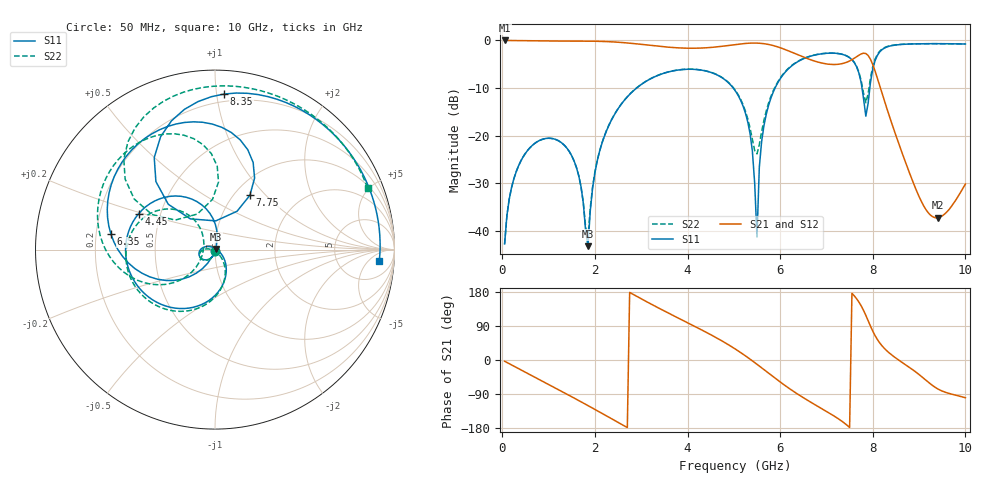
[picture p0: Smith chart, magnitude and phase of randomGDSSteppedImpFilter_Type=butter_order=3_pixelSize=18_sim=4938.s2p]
! freq	dB(S11)	phase(S11)	dB(S12)	phase(S12)
!  dB(S21)	phase(S21)	dB(S22)	phase(S22)
!S-par simulation data
#  GHz  S  DB  R 50
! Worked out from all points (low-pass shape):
!   200 points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, 50 MHz to 10 GHz, reference 50 ohm
!   highest |S21| = 0.00 dB at 50 MHz (marker M1); lowest = -37.3 dB at 9.4 GHz (marker M2)
!   |S21| within 3 dB of the highest: start of sweep to 6.38 GHz; 7.719 GHz to 7.88 GHz (161.8 MHz wide, 2.07 % of centre)
!   lowest |S11| = -43.2 dB at 1.85 GHz (marker M3), VSWR 1.01, Z = 50.6 + j0.353 ohm
!   |S11| at or under -10 dB: start of sweep to 2.9 GHz; 4.986 GHz to 5.89 GHz (903.9 MHz wide, 16.6 % of centre); 7.767 GHz to 7.936 GHz (169.3 MHz wide, 2.16 % of centre)
!   |S22| runs from -42.8 to -0.7 dB; largest |S21 - S12| = 0
!   S11 on the Smith chart (normalised r, x): 50 MHz: 1.00, -0.01; 4.45 GHz: 0.38, +0.19; 6.35 GHz: 0.26, +0.07; 7.75 GHz: 1.18, +0.82; 8.35 GHz: 0.15, +1.05; 10 GHz: 14, -11
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0.05  -42.76 -92.4  -0.00 -3.3  -0.00 -3.3  -42.75 -92.2
0.3  -27.59 -109.8  -0.04 -19.5  -0.04 -19.5  -27.59 -108.6
0.8  -21.04 -144.0  -0.10 -51.7  -0.10 -51.7  -21.04 -140.3
1.75  -34.22 137.0  -0.14 -113.6  -0.14 -113.6  -34.11 179.1
1.85  -43.23 30.4  -0.14 -120.2  -0.14 -120.2  -41.34 -95.5
2.25  -18.99 -56.6  -0.24 -147.4  -0.24 -147.4  -18.94 -60.8
3.4  -7.19 -137.7  -1.25 135.6  -1.25 135.6  -7.17 -131.8
4.45  -6.55 154.9  -1.51 70.1  -1.51 70.1  -6.53 167.3
5.05  -10.86 110.7  -0.84 27.5  -0.84 27.5  -10.74 131.9
5.35  -19.56 84.4  -0.57 2.3  -0.57 2.3  -18.40 127.2
5.5  -41.30 -71.9  -0.56 -11.3  -0.56 -11.3  -23.83 -178.7
5.55  -26.63 -113.1  -0.58 -16.0  -0.58 -16.0  -21.88 -154.3
5.7  -15.51 -128.4  -0.75 -30.1  -0.75 -30.1  -14.80 -136.0
6.35  -4.64 171.6  -2.88 -87.8  -2.88 -87.8  -4.57 -176.6
6.7  -3.18 144.1  -4.20 -114.2  -4.20 -114.2  -3.15 159.6
7.35  -2.94 95.5  -4.85 -163.1  -4.85 -163.1  -2.94 116.8
7.75  -8.88 57.3  -2.83 142.9  -2.83 142.9  -8.47 87.0
7.85  -15.91 88.4  -2.76 117.9  -2.76 117.9  -13.10 116.2
8  -5.99 131.0  -5.07 76.2  -5.07 76.2  -5.50 148.0
8.35  -1.23 86.7  -15.67 19.2  -15.67 19.2  -1.16 109.1
9.4  -0.68 23.8  -37.27 -76.1  -37.27 -76.1  -0.68 49.9
10  -0.75 -3.9  -30.18 -99.7  -30.18 -99.7  -0.75 22.0
